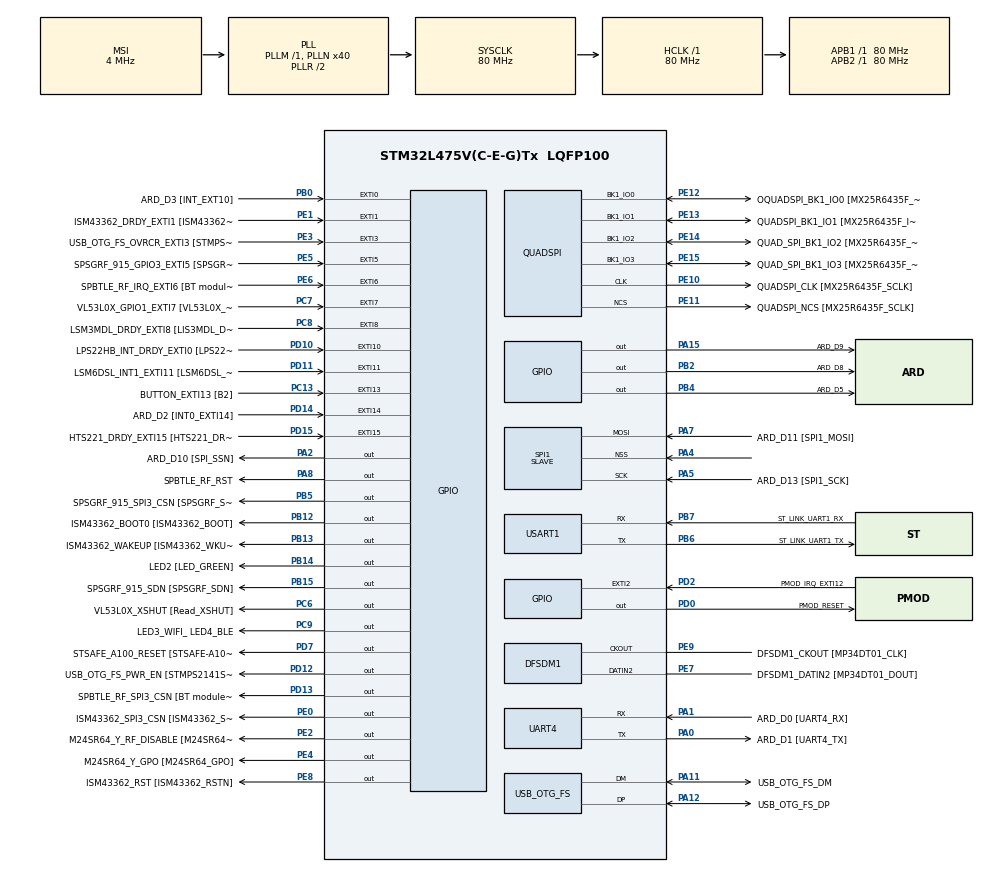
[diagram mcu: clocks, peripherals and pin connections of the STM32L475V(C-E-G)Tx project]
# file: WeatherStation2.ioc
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PD12.GPIO_Label=USB_OTG_FS_PWR_EN [STMPS2141STR_EN]
VP_SYS_VS_tim6.Mode=TIM6
QUADSPI.ClockPrescaler=2
SPI1.VirtualType=VM_SLAVE
NVIC.TIM6_DAC_IRQn=true\:0\:0\:false\:false\:true\:false\:false\:true
PC12.Signal=SPI3_MOSI
PB14.GPIO_Label=LED2 [LED_GREEN]
USART1.WordLength=WORDLENGTH_9B
PC6.GPIO_Label=VL53L0X_XSHUT [Read_XSHUT]
PA6.GPIO_Label=ARD_D12 [SPI1_MISO]
PB6.GPIO_Label=ST_LINK_UART1_TX
PA15\ (JTDI).Signal=GPIO_Output
PC15-OSC32_OUT\ (PC15).Mode=LSE-External-Oscillator
PB13.Signal=GPIO_Output
PD6.GPIO_Label=PMOD_UART2_RX
PE6.GPIO_Label=SPBTLE_RF_IRQ_EXTI6 [BT module_SPI_IRQ]
RCC.SYSCLKSource=RCC_SYSCLKSOURCE_PLLCLK
PC14-OSC32_IN\ (PC14).Mode=LSE-External-Oscillator
SH.ADCx_IN16.0=ADC1_IN16
PA14\ (JTCK-SWCLK).Signal=SYS_JTCK-SWCLK
FREERTOS.configENABLE_FPU=1
PA4.Mode=NSS_Signal_Hard_Input
SPI1.Direction=SPI_DIRECTION_2LINES_RXONLY
PD4.Signal=USART2_RTS
RCC.APB2TimFreq_Value=80000000
PB6.Signal=USART1_TX
PC7.Signal=GPXTI7
PB6.Mode=Asynchronous
UART4.Parity=PARITY_EVEN
PC3.Signal=ADCx_IN4
PD0.Signal=GPIO_Output
PD8.Signal=USART3_TX
PE5.Signal=GPXTI5
PE1.Signal=GPXTI1
QUADSPI.FlashSize=23
NVIC.EXTI15_10_IRQn=true\:5\:0\:false\:false\:true\:true\:true\:true
PB2.Signal=GPIO_Output
PD1.GPIO_Label=PMOD_SPI2_SCK
PB12.GPIO_Label=ISM43362_BOOT0 [ISM43362_BOOT]
PC4.GPIO_Label=ARD_A1 [ADC]
PE9.Signal=S_CKOUTDFSDM1
PB1.GPIO_Label=ARD_D6 [ADC1_IN6]
SPI1.DataSize=SPI_DATASIZE_8BIT
PE4.GPIO_Label=M24SR64_Y_GPO [M24SR64_GPO]
PA0.Mode=Asynchronous
PE2.Signal=GPIO_Output
PA8.Signal=GPIO_Output
SPI1.VirtualNSS=VM_NSSHARD
PE13.Mode=Single Bank
VP_FREERTOS_VS_CMSIS_V1.Mode=CMSIS_V1
PE10.Signal=QUADSPI_CLK
PA0.Signal=UART4_TX
Mcu.Package=LQFP100
PB9.Signal=I2C1_SDA
PB1.Signal=ADCx_IN16
NVIC.TimeBase=TIM6_DAC_IRQn
SH.ADCx_IN14.0=ADC1_IN14
PD12.Signal=GPIO_Output
NVIC.TimeBaseIP=TIM6
PA10.Signal=USB_OTG_FS_ID
PE12.GPIO_Label=OQUADSPI_BK1_IO0 [MX25R6435F_IO0]
UART4.WordLength=WORDLENGTH_9B
RCC.APB1TimFreq_Value=80000000
PA13\ (JTMS-SWDIO).Signal=SYS_JTMS-SWDIO
PE10.GPIO_Label=QUADSPI_CLK [MX25R6435F_SCLK]
PD15.Signal=GPXTI15
PA5.Mode=RX_Only_Simplex_Unidirect_Slave
PE12.Mode=Single Bank
FREERTOS.Tasks01=defaultTask,-3,128,StartDefaultTask,Default,NULL,Dynamic,NULL,NULL;readTemp,0,128,StartReadTemp,Default,NULL,Dynamic,NULL,NULL;readHum,0,128,StartReadHum,Default,NULL,Dynamic,NULL,NULL;readPress,0,128,StartReadPressure,Default,NULL,Dynamic,NULL,NULL;readMagneto,0,128,StartReadMagnetometer,Default,NULL,Dynamic,NULL,NULL;sendData,0,128,StartSendData,Default,NULL,Dynamic,NULL,NULL;receiveDelay,0,128,StartReceiveDelay,Default,NULL,Dynamic,NULL,NULL
PD9.GPIO_Label=INTERNAL_UART3_RX [ISM43362_TX]
PA9.GPIO_Label=USB_OTG_FS_VBUS [STMPS2141STR_OUT]
PC13.Signal=GPXTI13
PD3.Signal=USART2_CTS
PC2.Signal=ADCx_IN3
PE10.Mode=Single Bank
PC6.Signal=GPIO_Output
PB11.GPIO_Label=INTERNAL_I2C2_SDA [VL53L0X_SDA]
PD7.Signal=GPIO_Output
PD1.Signal=SPI2_SCK
PA11.GPIO_Label=USB_OTG_FS_DM
PC0.Signal=ADCx_IN1
PD10.Signal=GPXTI10
PB8.GPIO_Label=ARD_D15 [I2C1_SCL]
PA8.GPIO_Label=SPBTLE_RF_RST
PE8.GPIO_Label=ISM43362_RST [ISM43362_RSTN]
PA9.Signal=USB_OTG_FS_VBUS
PE9.GPIO_Label=DFSDM1_CKOUT [MP34DT01_CLK]
PB10.Signal=I2C2_SCL
PB14.Signal=GPIO_Output
PA5.Signal=SPI1_SCK
PE1.GPIO_Label=ISM43362_DRDY_EXTI1 [ISM43362_DATARDY]
PA1.Mode=Asynchronous
PE14.Signal=QUADSPI_BK1_IO2
PE15.Signal=QUADSPI_BK1_IO3
PB15.GPIO_Label=SPSGRF_915_SDN [SPSGRF_SDN]
PE8.Signal=GPIO_Output
SPI1.Mode=SPI_MODE_SLAVE
PA1.GPIO_Label=ARD_D0 [UART4_RX]
SH.ADCx_IN4.0=ADC1_IN4
QUADSPI.FifoThreshold=4
PC7.GPIO_Label=VL53L0X_GPIO1_EXTI7 [VL53L0X_GPIO1]
PA13\ (JTMS-SWDIO).Mode=Serial_Wire
PA4.Signal=SPI1_NSS
PB5.Signal=GPIO_Output
PE13.GPIO_Label=QUADSPI_BK1_IO1 [MX25R6435F_IO1]
PA5.GPIO_Label=ARD_D13 [SPI1_SCK]
PD11.Signal=GPXTI11
PE5.GPIO_Label=SPSGRF_915_GPIO3_EXTI5 [SPSGRF_GPIO_3]
PC12.GPIO_Label=INTERNAL_SPI3_MOSI [BT module_SPI_MOSI] [ISM43362_MOSI]
PA11.Signal=USB_OTG_FS_DM
ProjectManager.HeapSize=0x200
NVIC.PriorityGroup=NVIC_PRIORITYGROUP_4
PE3.Signal=GPXTI3
PC3.GPIO_Label=ARD_A2 [ADC]
PB4\ (NJTRST).GPIO_Label=ARD_D5
PD2.Signal=GPXTI2
PB0.Signal=GPXTI0
PC1.Signal=ADCx_IN2
PD2.GPIO_Label=PMOD_IRQ_EXTI12
PE15.Mode=Single Bank
Mcu.Family=STM32L4
RCC.CortexFreq_Value=80000000
PE11.GPIO_Label=QUADSPI_NCS [MX25R6435F_SCLK]
SH.ADCx_IN2.0=ADC1_IN2
PC10.Signal=SPI3_SCK
PA0.GPIO_Label=ARD_D1 [UART4_TX]
PC0.GPIO_Label=ARD_A5 [ADC]
PD0.GPIO_Label=PMOD_RESET
PA11.Mode=Device_Only
PB0.GPIO_Label=ARD_D3 [INT_EXT10]
PC13.GPIO_Label=BUTTON_EXTI13 [B2]
PB13.GPIO_Label=ISM43362_WAKEUP [ISM43362_WKUP]
PB11.Signal=I2C2_SDA
PB15.Signal=GPIO_Output
ProjectManager.StackSize=0x400
PB3\ (JTDO-TRACESWO).Signal=SYS_JTDO-SWO
PD13.Signal=GPIO_Output
PA12.Signal=USB_OTG_FS_DP
PE11.Mode=Single Bank
PD11.GPIO_Label=LSM6DSL_INT1_EXTI11 [LSM6DSL_INT1]
RCC.HCLKFreq_Value=80000000
SH.ADCx_IN3.0=ADC1_IN3
PB5.PinState=GPIO_PIN_SET
RCC.AHBFreq_Value=80000000
RCC.HSE_VALUE=8000000
PE13.Signal=QUADSPI_BK1_IO1
PC11.GPIO_Label=INTERNAL_SPI3_MISO [BT module_SPI_MISO] [ISM43362_MISO]
PA10.GPIO_Label=USB_OTG_FS_ID
PB7.Signal=USART1_RX
PE4.Signal=GPIO_Output
QUADSPI.SampleShifting=QSPI_SAMPLE_SHIFTING_HALFCYCLE
FREERTOS.configTOTAL_HEAP_SIZE=5000
PD7.GPIO_Label=STSAFE_A100_RESET [STSAFE-A100_RESET]
PB7.GPIO_Label=ST_LINK_UART1_RX
PD13.GPIO_Label=SPBTLE_RF_SPI3_CSN [BT module_SPI_CS]
PA6.Signal=SPI1_MISO
PD5.GPIO_Label=PMOD_UART2_TX
PA2.GPIO_Label=ARD_D10 [SPI_SSN]
USB_OTG_FS.VirtualMode=Device_Only
PE0.GPIO_Label=ISM43362_SPI3_CSN [ISM43362_SSN]
SH.ADCx_IN1.0=ADC1_IN1
PB5.GPIO_Label=SPSGRF_915_SPI3_CSN [SPSGRF_SPI_CS]
PC5.Signal=ADCx_IN14
PD3.GPIO_Label=PMOD_UART2_CTS
PE7.Signal=S_DATAIN2DFSDM1
PD6.Signal=USART2_RX
PE2.GPIO_Label=M24SR64_Y_RF_DISABLE [M24SR64_RFDIS]
PC2.GPIO_Label=ARD_A3 [ADC]
RCC.PLLSAI1N=24
PA3.Signal=S_TIM2_CH4
RCC.MSI_VALUE=4000000
PA14\ (JTCK-SWCLK).Mode=Serial_Wire
SH.ADCx_IN13.0=ADC1_IN13
PD15.GPIO_Label=HTS221_DRDY_EXTI15 [HTS221_DRDY]
PA7.Mode=RX_Only_Simplex_Unidirect_Slave
PB9.GPIO_Label=ARD_D14 [I2C1_SDA]
PC10.GPIO_Label=INTERNAL_SPI3_SCK [BT module_SPI_SCLK] [ISM43362_SCK]
PC9.GPIO_Label=LED3_WIFI_ LED4_BLE
PC11.Signal=SPI3_MISO
PC8.Signal=GPXTI8
PC4.Signal=ADCx_IN13
SH.S_DATAIN2DFSDM1.0=DFSDM1_DATIN2,PDM_SPI_Input_from_ch12_and_Internal_Clock
PE14.GPIO_Label=QUAD_SPI_BK1_IO2 [MX25R6435F_IO2]
PC15-OSC32_OUT\ (PC15).Signal=RCC_OSC32_OUT
PD9.Signal=USART3_RX
PD5.Signal=USART2_TX
PA14\ (JTCK-SWCLK).GPIO_Label=SYS_JTCK_SWCLK
PB3\ (JTDO-TRACESWO).GPIO_Label=SYS_JTD0_SWO
PA12.GPIO_Label=USB_OTG_FS_DP
PD8.GPIO_Label=INTERNAL_UART3_TX [ISM43362_RX]
PC8.GPIO_Label=LSM3MDL_DRDY_EXTI8 [LIS3MDL_DRDY]
USART1.VirtualMode-Asynchronous=VM_ASYNC
PE0.PinState=GPIO_PIN_SET
PE15.GPIO_Label=QUAD_SPI_BK1_IO3 [MX25R6435F_IO3]
ProjectManager.TargetToolchain=STM32CubeIDE
PB10.GPIO_Label=INTERNAL_I2C2_SCL [VL53L0X_SCL]
USART1.Parity=PARITY_EVEN
RCC.USBFreq_Value=48000000
PD10.GPIO_Label=LPS22HB_INT_DRDY_EXTI0 [LPS22HB_INT_DRDY] 
PE11.Signal=QUADSPI_NCS
PA1.Signal=UART4_RX
board=B-L475E-IOT01A2
RCC.VCOOutputFreq_Value=160000000
RCC.APB2Freq_Value=80000000
PA13\ (JTMS-SWDIO).GPIO_Label=SYS_JTMS_SWDIO
PD4.GPIO_Label=PMOD_UART2_RTS
PE14.Mode=Single Bank
SH.S_CKOUTDFSDM1.0=DFSDM1_CKOUT,CKOUT
SH.S_CKOUTDFSDM1.1=DFSDM1_CKOUT,PDM_SPI_Input_from_ch12_and_Internal_Clock
RCC.ADCFreq_Value=48000000
PC1.GPIO_Label=ARD_A4 [ADC]
PD14.GPIO_Label=ARD_D2 [INT0_EXTI14]
PE6.Signal=GPXTI6
PA15\ (JTDI).GPIO_Label=ARD_D9
Mcu.Name=STM32L475V(C-E-G)Tx
PE0.Signal=GPIO_Output
PE7.GPIO_Label=DFSDM1_DATIN2 [MP34DT01_DOUT]
PE12.Signal=QUADSPI_BK1_IO0
PA2.Signal=GPIO_Output
PD14.Signal=GPXTI14
RCC.SYSCLKFreq_VALUE=80000000
PA7.GPIO_Label=ARD_D11 [SPI1_MOSI]
PA12.Mode=Device_Only
PC13.GPIO_ModeDefaultEXTI=GPIO_MODE_IT_FALLING
PC5.GPIO_Label=ARD_A0 [ADC]
PC14-OSC32_IN\ (PC14).Signal=RCC_OSC32_IN
PB7.Mode=Asynchronous
NVIC.EXTI9_5_IRQn=true\:5\:0\:false\:false\:true\:true\:true\:true
PB2.GPIO_Label=ARD_D8
SH.S_TIM2_CH4.0=TIM2_CH4
RCC.HSI_VALUE=16000000
RCC.PLLN=40
PB8.Signal=I2C1_SCL
PE3.GPIO_Label=USB_OTG_FS_OVRCR_EXTI3 [STMPS2141STR_FAULT]
PC9.Signal=GPIO_Output
PD13.PinState=GPIO_PIN_SET
RCC.APB1Freq_Value=80000000
PB12.Signal=GPIO_Output
PA3.GPIO_Label=ARD_D4
PA7.Signal=SPI1_MOSI
PB4\ (NJTRST).Signal=GPIO_Output

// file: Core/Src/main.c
/* USER CODE BEGIN Header */
/**
  ******************************************************************************
  * @file           : main.c
  * @brief          : Main program body
  ******************************************************************************
  * @attention
  *
  * <h2><center>&copy; Copyright (c) 2021 STMicroelectronics.
  * All rights reserved.</center></h2>
  *
  * This software component is licensed by ST under BSD 3-Clause license,
  * the "License"; You may not use this file except in compliance with the
  * License. You may obtain a copy of the License at:
  *                        opensource.org/licenses/BSD-3-Clause
  *
  ******************************************************************************
  */
/* USER CODE END Header */
#include "main.h"
#include "cmsis_os.h"

/* USER CODE BEGIN Includes */
#include "stm32l475e_iot01.h"
#include "stm32l475e_iot01_tsensor.h"
#include "stm32l475e_iot01_hsensor.h"
#include "stm32l475e_iot01_magneto.h"
#include "stm32l475e_iot01_psensor.h"
#include <math.h>
#include <stdio.h>
#include <stdlib.h>
#include <inttypes.h>
#include "sensors.h"

/* USER CODE END Includes */

DFSDM_Channel_HandleTypeDef hdfsdm1_channel1;

QSPI_HandleTypeDef hqspi;

SPI_HandleTypeDef hspi1;

UART_HandleTypeDef huart4;
UART_HandleTypeDef huart1;

PCD_HandleTypeDef hpcd_USB_OTG_FS;

osThreadId defaultTaskHandle;
osThreadId readTempHandle;
osThreadId readHumHandle;
osThreadId readPressHandle;
osThreadId readMagnetoHandle;
osThreadId sendDataHandle;
osThreadId receiveDelayHandle;
/* USER CODE BEGIN PV */

sensors_delay_t delay;
sensor_data_t sensor_data;
uint8_t *written_data;

/* USER CODE END PV */

void SystemClock_Config(void);
static void MX_GPIO_Init(void);
static void MX_DFSDM1_Init(void);
static void MX_QUADSPI_Init(void);
static void MX_USART1_UART_Init(void);
static void MX_USB_OTG_FS_PCD_Init(void);
static void MX_SPI1_Init(void);
static void MX_UART4_Init(void);
void StartDefaultTask(void const * argument);
void StartReadTemp(void const * argument);
void StartReadHum(void const * argument);
void StartReadPressure(void const * argument);
void StartReadMagnetometer(void const * argument);
void StartSendData(void const * argument);
void StartReceiveDelay(void const * argument);

/* USER CODE BEGIN PFP */
int _write(int file, char *ptr, int len);
void _SPI_receive_delay();
void _UART_send_sensor_data();
void _set_delay(const uint16_t new_delay);
uint8_t _sum(uint8_t *written_data);
/* USER CODE END PFP */

/* USER CODE BEGIN 0 */
int _write(int file, char *ptr, int len){
	HAL_UART_Transmit(&huart1, (uint8_t *)ptr, len, 10);
	return len;
}

void _SPI_receive_delay(){
	// TODO: find a way to set this up with an interrupt
	HAL_StatusTypeDef status = HAL_TIMEOUT;
	union{
		uint8_t uint8_delay[2];
		uint16_t uint16_delay;
	} new_delay;
	uint8_t read_counter = 0;

	printf("ReceiveDelay: Waiting for a new delay...\r");

	while(status != HAL_OK && read_counter < 2){

		status = HAL_SPI_Receive(&hspi1, &new_delay.uint8_delay[read_counter], sizeof(uint8_t), delay*2);

		if(status == HAL_OK)
			read_counter ++;
		else
			// Allow preemption
			osDelay(500);
	}

	printf("ReceiveDelay: Received new delay: %d\r", new_delay.uint16_delay);
	_set_delay(new_delay.uint16_delay);

}

uint8_t _sum(uint8_t *written_data){
	uint8_t sum = 0;

	for(uint8_t i=0; i<sizeof(written_data); i++)
		sum += written_data[i];

	return sum;
}

void _UART_send_sensor_data(){
	HAL_StatusTypeDef status;
	uint8_t *sensor_data_bytes = (uint8_t *)&sensor_data;

	printf("SendData: Sending data: \r");
	printf("SendData: Temperature = %.02f°C\r", sensor_data.temperature);
	printf("SendData: Humidity = %.02f%% \r", sensor_data.humidity);
	printf("SendData: Pressure = %.02f hPa\r", sensor_data.pressure);
	printf("SendData: North direction = %.02f°\r\r", sensor_data.north_direction);

	/* for(uint8_t i=0; i<sizeof(sensor_data_t); i++){
		status = HAL_TIMEOUT;
		while(status != HAL_OK){
			status = HAL_UART_Transmit(&huart4, sensor_data_bytes + i, sizeof(uint8_t), delay*2);
			printf(".");
		}
	}*/

	printf("\rSendData: Sensor data sent.\r");

	// reset of written_data
	for(uint8_t i=0; i<sizeof(written_data); i++)
		written_data[i] = 0;

	printf("SendData: Reset written_data counters.\r");

}

void _set_delay(const uint16_t new_delay){
	switch(new_delay){
		case 500:
			delay = FAST;
			break;
		case 1000:
			delay = MEDIUM;
			break;
		case 2500:
			delay = SLOW;
			break;
		case 5000:
			delay = VERY_SLOW;
			break;
		case 10000:
			delay = TAKE_A_BREAK;
			break;
		default:
			// Blink LED to say there was a problem, maybe transmission?
			HAL_GPIO_WritePin(GPIOB, LED2_Pin, GPIO_PIN_SET);
			HAL_Delay(500);
			HAL_GPIO_WritePin(GPIOB, LED2_Pin, GPIO_PIN_RESET);
			break;
	}
}

/* USER CODE END 0 */

int main(void)
{
  /* USER CODE BEGIN 1 */
	written_data = malloc(sizeof(uint8_t) * 4);

	for(uint8_t i=0; i<sizeof(written_data); i++)
		written_data[i] = 0;

	delay = FAST;

  /* USER CODE END 1 */

  /* MCU Configuration--------------------------------------------------------*/

  /* Reset of all peripherals, Initializes the Flash interface and the Systick. */
  HAL_Init();

  /* Configure the system clock */
  SystemClock_Config();

  /* Initialize all configured peripherals */
  MX_GPIO_Init();
  MX_DFSDM1_Init();
  MX_QUADSPI_Init();
  MX_USART1_UART_Init();
  MX_USB_OTG_FS_PCD_Init();
  MX_SPI1_Init();
  MX_UART4_Init();

  /* Create the thread(s) */
  /* definition and creation of defaultTask */
  osThreadDef(defaultTask, StartDefaultTask, osPriorityIdle, 0, 128);
  defaultTaskHandle = osThreadCreate(osThread(defaultTask), NULL);

  /* definition and creation of readTemp */
  osThreadDef(readTemp, StartReadTemp, osPriorityNormal, 0, 128);
  readTempHandle = osThreadCreate(osThread(readTemp), NULL);

  /* definition and creation of readHum */
  osThreadDef(readHum, StartReadHum, osPriorityNormal, 0, 128);
  readHumHandle = osThreadCreate(osThread(readHum), NULL);

  /* definition and creation of readPress */
  osThreadDef(readPress, StartReadPressure, osPriorityNormal, 0, 128);
  readPressHandle = osThreadCreate(osThread(readPress), NULL);

  /* definition and creation of readMagneto */
  osThreadDef(readMagneto, StartReadMagnetometer, osPriorityNormal, 0, 128);
  readMagnetoHandle = osThreadCreate(osThread(readMagneto), NULL);

  /* definition and creation of sendData */
  osThreadDef(sendData, StartSendData, osPriorityNormal, 0, 128);
  sendDataHandle = osThreadCreate(osThread(sendData), NULL);

  /* definition and creation of receiveDelay */
  osThreadDef(receiveDelay, StartReceiveDelay, osPriorityNormal, 0, 128);
  receiveDelayHandle = osThreadCreate(osThread(receiveDelay), NULL);

  /* Start scheduler */
  osKernelStart();

  /* We should never get here as control is now taken by the scheduler */
  /* Infinite loop */
  while (1)
  {

  }
}

void SystemClock_Config(void)
{
  RCC_OscInitTypeDef RCC_OscInitStruct = {0};
  RCC_ClkInitTypeDef RCC_ClkInitStruct = {0};
  RCC_PeriphCLKInitTypeDef PeriphClkInit = {0};

  /** Configure LSE Drive Capability
  */
  HAL_PWR_EnableBkUpAccess();
  __HAL_RCC_LSEDRIVE_CONFIG(RCC_LSEDRIVE_LOW);
  /** Initializes the RCC Oscillators according to the specified parameters
  * in the RCC_OscInitTypeDef structure.
  */
  RCC_OscInitStruct.OscillatorType = RCC_OSCILLATORTYPE_LSE|RCC_OSCILLATORTYPE_MSI;
  RCC_OscInitStruct.LSEState = RCC_LSE_ON;
  RCC_OscInitStruct.MSIState = RCC_MSI_ON;
  RCC_OscInitStruct.MSICalibrationValue = 0;
  RCC_OscInitStruct.MSIClockRange = RCC_MSIRANGE_6;
  RCC_OscInitStruct.PLL.PLLState = RCC_PLL_ON;
  RCC_OscInitStruct.PLL.PLLSource = RCC_PLLSOURCE_MSI;
  RCC_OscInitStruct.PLL.PLLM = 1;
  RCC_OscInitStruct.PLL.PLLN = 40;
  RCC_OscInitStruct.PLL.PLLP = RCC_PLLP_DIV7;
  RCC_OscInitStruct.PLL.PLLQ = RCC_PLLQ_DIV2;
  RCC_OscInitStruct.PLL.PLLR = RCC_PLLR_DIV2;
  if (HAL_RCC_OscConfig(&RCC_OscInitStruct) != HAL_OK)
  {
    Error_Handler();
  }
  /** Initializes the CPU, AHB and APB buses clocks
  */
  RCC_ClkInitStruct.ClockType = RCC_CLOCKTYPE_HCLK|RCC_CLOCKTYPE_SYSCLK
                              |RCC_CLOCKTYPE_PCLK1|RCC_CLOCKTYPE_PCLK2;
  RCC_ClkInitStruct.SYSCLKSource = RCC_SYSCLKSOURCE_PLLCLK;
  RCC_ClkInitStruct.AHBCLKDivider = RCC_SYSCLK_DIV1;
  RCC_ClkInitStruct.APB1CLKDivider = RCC_HCLK_DIV1;
  RCC_ClkInitStruct.APB2CLKDivider = RCC_HCLK_DIV1;

  if (HAL_RCC_ClockConfig(&RCC_ClkInitStruct, FLASH_LATENCY_4) != HAL_OK)
  {
    Error_Handler();
  }
  PeriphClkInit.PeriphClockSelection = RCC_PERIPHCLK_USART1|RCC_PERIPHCLK_UART4
                              |RCC_PERIPHCLK_DFSDM1|RCC_PERIPHCLK_USB;
  PeriphClkInit.Usart1ClockSelection = RCC_USART1CLKSOURCE_PCLK2;
  PeriphClkInit.Uart4ClockSelection = RCC_UART4CLKSOURCE_PCLK1;
  PeriphClkInit.Dfsdm1ClockSelection = RCC_DFSDM1CLKSOURCE_PCLK;
  PeriphClkInit.UsbClockSelection = RCC_USBCLKSOURCE_PLLSAI1;
  PeriphClkInit.PLLSAI1.PLLSAI1Source = RCC_PLLSOURCE_MSI;
  PeriphClkInit.PLLSAI1.PLLSAI1M = 1;
  PeriphClkInit.PLLSAI1.PLLSAI1N = 24;
  PeriphClkInit.PLLSAI1.PLLSAI1P = RCC_PLLP_DIV7;
  PeriphClkInit.PLLSAI1.PLLSAI1Q = RCC_PLLQ_DIV2;
  PeriphClkInit.PLLSAI1.PLLSAI1R = RCC_PLLR_DIV2;
  PeriphClkInit.PLLSAI1.PLLSAI1ClockOut = RCC_PLLSAI1_48M2CLK;
  if (HAL_RCCEx_PeriphCLKConfig(&PeriphClkInit) != HAL_OK)
  {
    Error_Handler();
  }
  /** Configure the main internal regulator output voltage
  */
  if (HAL_PWREx_ControlVoltageScaling(PWR_REGULATOR_VOLTAGE_SCALE1) != HAL_OK)
  {
    Error_Handler();
  }
  /** Enable MSI Auto calibration
  */
  HAL_RCCEx_EnableMSIPLLMode();
}

static void MX_DFSDM1_Init(void)
{

  hdfsdm1_channel1.Instance = DFSDM1_Channel1;
  hdfsdm1_channel1.Init.OutputClock.Activation = ENABLE;
  hdfsdm1_channel1.Init.OutputClock.Selection = DFSDM_CHANNEL_OUTPUT_CLOCK_SYSTEM;
  hdfsdm1_channel1.Init.OutputClock.Divider = 2;
  hdfsdm1_channel1.Init.Input.Multiplexer = DFSDM_CHANNEL_EXTERNAL_INPUTS;
  hdfsdm1_channel1.Init.Input.DataPacking = DFSDM_CHANNEL_STANDARD_MODE;
  hdfsdm1_channel1.Init.Input.Pins = DFSDM_CHANNEL_FOLLOWING_CHANNEL_PINS;
  hdfsdm1_channel1.Init.SerialInterface.Type = DFSDM_CHANNEL_SPI_RISING;
  hdfsdm1_channel1.Init.SerialInterface.SpiClock = DFSDM_CHANNEL_SPI_CLOCK_INTERNAL;
  hdfsdm1_channel1.Init.Awd.FilterOrder = DFSDM_CHANNEL_FASTSINC_ORDER;
  hdfsdm1_channel1.Init.Awd.Oversampling = 1;
  hdfsdm1_channel1.Init.Offset = 0;
  hdfsdm1_channel1.Init.RightBitShift = 0x00;
  if (HAL_DFSDM_ChannelInit(&hdfsdm1_channel1) != HAL_OK)
  {
    Error_Handler();
  }

}

static void MX_QUADSPI_Init(void)
{

  /* QUADSPI parameter configuration*/
  hqspi.Instance = QUADSPI;
  hqspi.Init.ClockPrescaler = 2;
  hqspi.Init.FifoThreshold = 4;
  hqspi.Init.SampleShifting = QSPI_SAMPLE_SHIFTING_HALFCYCLE;
  hqspi.Init.FlashSize = 23;
  hqspi.Init.ChipSelectHighTime = QSPI_CS_HIGH_TIME_1_CYCLE;
  hqspi.Init.ClockMode = QSPI_CLOCK_MODE_0;
  if (HAL_QSPI_Init(&hqspi) != HAL_OK)
  {
    Error_Handler();
  }

}

static void MX_SPI1_Init(void)
{

  /* SPI1 parameter configuration*/
  hspi1.Instance = SPI1;
  hspi1.Init.Mode = SPI_MODE_SLAVE;
  hspi1.Init.Direction = SPI_DIRECTION_2LINES_RXONLY;
  hspi1.Init.DataSize = SPI_DATASIZE_8BIT;
  hspi1.Init.CLKPolarity = SPI_POLARITY_LOW;
  hspi1.Init.CLKPhase = SPI_PHASE_1EDGE;
  hspi1.Init.NSS = SPI_NSS_HARD_INPUT;
  hspi1.Init.FirstBit = SPI_FIRSTBIT_MSB;
  hspi1.Init.TIMode = SPI_TIMODE_DISABLE;
  hspi1.Init.CRCCalculation = SPI_CRCCALCULATION_DISABLE;
  hspi1.Init.CRCPolynomial = 7;
  hspi1.Init.CRCLength = SPI_CRC_LENGTH_DATASIZE;
  hspi1.Init.NSSPMode = SPI_NSS_PULSE_DISABLE;
  if (HAL_SPI_Init(&hspi1) != HAL_OK)
  {
    Error_Handler();
  }

}

static void MX_UART4_Init(void)
{

  huart4.Instance = UART4;
  huart4.Init.BaudRate = 115200;
  huart4.Init.WordLength = UART_WORDLENGTH_9B;
  huart4.Init.StopBits = UART_STOPBITS_1;
  huart4.Init.Parity = UART_PARITY_EVEN;
  huart4.Init.Mode = UART_MODE_TX_RX;
  huart4.Init.HwFlowCtl = UART_HWCONTROL_NONE;
  huart4.Init.OverSampling = UART_OVERSAMPLING_16;
  huart4.Init.OneBitSampling = UART_ONE_BIT_SAMPLE_DISABLE;
  huart4.AdvancedInit.AdvFeatureInit = UART_ADVFEATURE_NO_INIT;
  if (HAL_UART_Init(&huart4) != HAL_OK)
  {
    Error_Handler();
  }

}

static void MX_USART1_UART_Init(void)
{

  huart1.Instance = USART1;
  huart1.Init.BaudRate = 115200;
  huart1.Init.WordLength = UART_WORDLENGTH_9B;
  huart1.Init.StopBits = UART_STOPBITS_1;
  huart1.Init.Parity = UART_PARITY_EVEN;
  huart1.Init.Mode = UART_MODE_TX_RX;
  huart1.Init.HwFlowCtl = UART_HWCONTROL_NONE;
  huart1.Init.OverSampling = UART_OVERSAMPLING_16;
  huart1.Init.OneBitSampling = UART_ONE_BIT_SAMPLE_DISABLE;
  huart1.AdvancedInit.AdvFeatureInit = UART_ADVFEATURE_NO_INIT;
  if (HAL_UART_Init(&huart1) != HAL_OK)
  {
    Error_Handler();
  }

}

static void MX_USB_OTG_FS_PCD_Init(void)
{

  hpcd_USB_OTG_FS.Instance = USB_OTG_FS;
  hpcd_USB_OTG_FS.Init.dev_endpoints = 6;
  hpcd_USB_OTG_FS.Init.speed = PCD_SPEED_FULL;
  hpcd_USB_OTG_FS.Init.phy_itface = PCD_PHY_EMBEDDED;
  hpcd_USB_OTG_FS.Init.Sof_enable = DISABLE;
  hpcd_USB_OTG_FS.Init.low_power_enable = DISABLE;
  hpcd_USB_OTG_FS.Init.lpm_enable = DISABLE;
  hpcd_USB_OTG_FS.Init.battery_charging_enable = DISABLE;
  hpcd_USB_OTG_FS.Init.use_dedicated_ep1 = DISABLE;
  hpcd_USB_OTG_FS.Init.vbus_sensing_enable = DISABLE;
  if (HAL_PCD_Init(&hpcd_USB_OTG_FS) != HAL_OK)
  {
    Error_Handler();
  }

}

static void MX_GPIO_Init(void)
{
  GPIO_InitTypeDef GPIO_InitStruct = {0};

  /* GPIO Ports Clock Enable */
  __HAL_RCC_GPIOE_CLK_ENABLE();
  __HAL_RCC_GPIOC_CLK_ENABLE();
  __HAL_RCC_GPIOA_CLK_ENABLE();
  __HAL_RCC_GPIOB_CLK_ENABLE();
  __HAL_RCC_GPIOD_CLK_ENABLE();

  /*Configure GPIO pin Output Level */
  HAL_GPIO_WritePin(GPIOE, M24SR64_Y_RF_DISABLE_Pin|M24SR64_Y_GPO_Pin|ISM43362_RST_Pin, GPIO_PIN_RESET);

  /*Configure GPIO pin Output Level */
  HAL_GPIO_WritePin(GPIOA, ARD_D10_Pin|SPBTLE_RF_RST_Pin|ARD_D9_Pin, GPIO_PIN_RESET);

  /*Configure GPIO pin Output Level */
  HAL_GPIO_WritePin(GPIOB, ARD_D8_Pin|ISM43362_BOOT0_Pin|ISM43362_WAKEUP_Pin|LED2_Pin
                          |SPSGRF_915_SDN_Pin|ARD_D5_Pin, GPIO_PIN_RESET);

  /*Configure GPIO pin Output Level */
  HAL_GPIO_WritePin(GPIOD, USB_OTG_FS_PWR_EN_Pin|PMOD_RESET_Pin|STSAFE_A100_RESET_Pin, GPIO_PIN_RESET);

  /*Configure GPIO pin Output Level */
  HAL_GPIO_WritePin(SPBTLE_RF_SPI3_CSN_GPIO_Port, SPBTLE_RF_SPI3_CSN_Pin, GPIO_PIN_SET);

  /*Configure GPIO pin Output Level */
  HAL_GPIO_WritePin(GPIOC, VL53L0X_XSHUT_Pin|LED3_WIFI__LED4_BLE_Pin, GPIO_PIN_RESET);

  /*Configure GPIO pin Output Level */
  HAL_GPIO_WritePin(SPSGRF_915_SPI3_CSN_GPIO_Port, SPSGRF_915_SPI3_CSN_Pin, GPIO_PIN_SET);

  /*Configure GPIO pin Output Level */
  HAL_GPIO_WritePin(ISM43362_SPI3_CSN_GPIO_Port, ISM43362_SPI3_CSN_Pin, GPIO_PIN_SET);

  /*Configure GPIO pins : M24SR64_Y_RF_DISABLE_Pin M24SR64_Y_GPO_Pin ISM43362_RST_Pin ISM43362_SPI3_CSN_Pin */
  GPIO_InitStruct.Pin = M24SR64_Y_RF_DISABLE_Pin|M24SR64_Y_GPO_Pin|ISM43362_RST_Pin|ISM43362_SPI3_CSN_Pin;
  GPIO_InitStruct.Mode = GPIO_MODE_OUTPUT_PP;
  GPIO_InitStruct.Pull = GPIO_NOPULL;
  GPIO_InitStruct.Speed = GPIO_SPEED_FREQ_LOW;
  HAL_GPIO_Init(GPIOE, &GPIO_InitStruct);

  /*Configure GPIO pins : USB_OTG_FS_OVRCR_EXTI3_Pin SPSGRF_915_GPIO3_EXTI5_Pin SPBTLE_RF_IRQ_EXTI6_Pin ISM43362_DRDY_EXTI1_Pin */
  GPIO_InitStruct.Pin = USB_OTG_FS_OVRCR_EXTI3_Pin|SPSGRF_915_GPIO3_EXTI5_Pin|SPBTLE_RF_IRQ_EXTI6_Pin|ISM43362_DRDY_EXTI1_Pin;
  GPIO_InitStruct.Mode = GPIO_MODE_IT_RISING;
  GPIO_InitStruct.Pull = GPIO_NOPULL;
  HAL_GPIO_Init(GPIOE, &GPIO_InitStruct);

  /*Configure GPIO pin : BUTTON_EXTI13_Pin */
  GPIO_InitStruct.Pin = BUTTON_EXTI13_Pin;
  GPIO_InitStruct.Mode = GPIO_MODE_IT_FALLING;
  GPIO_InitStruct.Pull = GPIO_NOPULL;
  HAL_GPIO_Init(BUTTON_EXTI13_GPIO_Port, &GPIO_InitStruct);

  /*Configure GPIO pins : ARD_A5_Pin ARD_A4_Pin ARD_A3_Pin ARD_A2_Pin
                           ARD_A1_Pin ARD_A0_Pin */
  GPIO_InitStruct.Pin = ARD_A5_Pin|ARD_A4_Pin|ARD_A3_Pin|ARD_A2_Pin
                          |ARD_A1_Pin|ARD_A0_Pin;
  GPIO_InitStruct.Mode = GPIO_MODE_ANALOG_ADC_CONTROL;
  GPIO_InitStruct.Pull = GPIO_NOPULL;
  HAL_GPIO_Init(GPIOC, &GPIO_InitStruct);

  /*Configure GPIO pins : ARD_D10_Pin SPBTLE_RF_RST_Pin ARD_D9_Pin */
  GPIO_InitStruct.Pin = ARD_D10_Pin|SPBTLE_RF_RST_Pin|ARD_D9_Pin;
  GPIO_InitStruct.Mode = GPIO_MODE_OUTPUT_PP;
  GPIO_InitStruct.Pull = GPIO_NOPULL;
  GPIO_InitStruct.Speed = GPIO_SPEED_FREQ_LOW;
  HAL_GPIO_Init(GPIOA, &GPIO_InitStruct);

  /*Configure GPIO pin : ARD_D4_Pin */
  GPIO_InitStruct.Pin = ARD_D4_Pin;
  GPIO_InitStruct.Mode = GPIO_MODE_AF_PP;
  GPIO_InitStruct.Pull = GPIO_NOPULL;
  GPIO_InitStruct.Speed = GPIO_SPEED_FREQ_LOW;
  GPIO_InitStruct.Alternate = GPIO_AF1_TIM2;
  HAL_GPIO_Init(ARD_D4_GPIO_Port, &GPIO_InitStruct);

  /*Configure GPIO pin : ARD_D3_Pin */
  GPIO_InitStruct.Pin = ARD_D3_Pin;
  GPIO_InitStruct.Mode = GPIO_MODE_IT_RISING;
  GPIO_InitStruct.Pull = GPIO_NOPULL;
  HAL_GPIO_Init(ARD_D3_GPIO_Port, &GPIO_InitStruct);

  /*Configure GPIO pin : ARD_D6_Pin */
  GPIO_InitStruct.Pin = ARD_D6_Pin;
  GPIO_InitStruct.Mode = GPIO_MODE_ANALOG_ADC_CONTROL;
  GPIO_InitStruct.Pull = GPIO_NOPULL;
  HAL_GPIO_Init(ARD_D6_GPIO_Port, &GPIO_InitStruct);

  /*Configure GPIO pins : ARD_D8_Pin ISM43362_BOOT0_Pin ISM43362_WAKEUP_Pin LED2_Pin
                           SPSGRF_915_SDN_Pin ARD_D5_Pin SPSGRF_915_SPI3_CSN_Pin */
  GPIO_InitStruct.Pin = ARD_D8_Pin|ISM43362_BOOT0_Pin|ISM43362_WAKEUP_Pin|LED2_Pin
                          |SPSGRF_915_SDN_Pin|ARD_D5_Pin|SPSGRF_915_SPI3_CSN_Pin;
  GPIO_InitStruct.Mode = GPIO_MODE_OUTPUT_PP;
  GPIO_InitStruct.Pull = GPIO_NOPULL;
  GPIO_InitStruct.Speed = GPIO_SPEED_FREQ_LOW;
  HAL_GPIO_Init(GPIOB, &GPIO_InitStruct);

  /*Configure GPIO pins : INTERNAL_I2C2_SCL_Pin INTERNAL_I2C2_SDA_Pin */
  GPIO_InitStruct.Pin = INTERNAL_I2C2_SCL_Pin|INTERNAL_I2C2_SDA_Pin;
  GPIO_InitStruct.Mode = GPIO_MODE_AF_OD;
  GPIO_InitStruct.Pull = GPIO_PULLUP;
  GPIO_InitStruct.Speed = GPIO_SPEED_FREQ_VERY_HIGH;
  GPIO_InitStruct.Alternate = GPIO_AF4_I2C2;
  HAL_GPIO_Init(GPIOB, &GPIO_InitStruct);

  /*Configure GPIO pins : INTERNAL_UART3_TX_Pin INTERNAL_UART3_RX_Pin */
  GPIO_InitStruct.Pin = INTERNAL_UART3_TX_Pin|INTERNAL_UART3_RX_Pin;
  GPIO_InitStruct.Mode = GPIO_MODE_AF_PP;
  GPIO_InitStruct.Pull = GPIO_NOPULL;
  GPIO_InitStruct.Speed = GPIO_SPEED_FREQ_VERY_HIGH;
  GPIO_InitStruct.Alternate = GPIO_AF7_USART3;
  HAL_GPIO_Init(GPIOD, &GPIO_InitStruct);

  /*Configure GPIO pins : LPS22HB_INT_DRDY_EXTI0_Pin LSM6DSL_INT1_EXTI11_Pin ARD_D2_Pin HTS221_DRDY_EXTI15_Pin
                           PMOD_IRQ_EXTI12_Pin */
  GPIO_InitStruct.Pin = LPS22HB_INT_DRDY_EXTI0_Pin|LSM6DSL_INT1_EXTI11_Pin|ARD_D2_Pin|HTS221_DRDY_EXTI15_Pin
                          |PMOD_IRQ_EXTI12_Pin;
  GPIO_InitStruct.Mode = GPIO_MODE_IT_RISING;
  GPIO_InitStruct.Pull = GPIO_NOPULL;
  HAL_GPIO_Init(GPIOD, &GPIO_InitStruct);

  /*Configure GPIO pins : USB_OTG_FS_PWR_EN_Pin SPBTLE_RF_SPI3_CSN_Pin PMOD_RESET_Pin STSAFE_A100_RESET_Pin */
  GPIO_InitStruct.Pin = USB_OTG_FS_PWR_EN_Pin|SPBTLE_RF_SPI3_CSN_Pin|PMOD_RESET_Pin|STSAFE_A100_RESET_Pin;
  GPIO_InitStruct.Mode = GPIO_MODE_OUTPUT_PP;
  GPIO_InitStruct.Pull = GPIO_NOPULL;
  GPIO_InitStruct.Speed = GPIO_SPEED_FREQ_LOW;
  HAL_GPIO_Init(GPIOD, &GPIO_InitStruct);

  /*Configure GPIO pins : VL53L0X_XSHUT_Pin LED3_WIFI__LED4_BLE_Pin */
  GPIO_InitStruct.Pin = VL53L0X_XSHUT_Pin|LED3_WIFI__LED4_BLE_Pin;
  GPIO_InitStruct.Mode = GPIO_MODE_OUTPUT_PP;
  GPIO_InitStruct.Pull = GPIO_NOPULL;
  GPIO_InitStruct.Speed = GPIO_SPEED_FREQ_LOW;
  HAL_GPIO_Init(GPIOC, &GPIO_InitStruct);

  /*Configure GPIO pins : VL53L0X_GPIO1_EXTI7_Pin LSM3MDL_DRDY_EXTI8_Pin */
  GPIO_InitStruct.Pin = VL53L0X_GPIO1_EXTI7_Pin|LSM3MDL_DRDY_EXTI8_Pin;
  GPIO_InitStruct.Mode = GPIO_MODE_IT_RISING;
  GPIO_InitStruct.Pull = GPIO_NOPULL;
  HAL_GPIO_Init(GPIOC, &GPIO_InitStruct);

  /*Configure GPIO pins : INTERNAL_SPI3_SCK_Pin INTERNAL_SPI3_MISO_Pin INTERNAL_SPI3_MOSI_Pin */
  GPIO_InitStruct.Pin = INTERNAL_SPI3_SCK_Pin|INTERNAL_SPI3_MISO_Pin|INTERNAL_SPI3_MOSI_Pin;
  GPIO_InitStruct.Mode = GPIO_MODE_AF_PP;
  GPIO_InitStruct.Pull = GPIO_NOPULL;
  GPIO_InitStruct.Speed = GPIO_SPEED_FREQ_VERY_HIGH;
  GPIO_InitStruct.Alternate = GPIO_AF6_SPI3;
  HAL_GPIO_Init(GPIOC, &GPIO_InitStruct);

  /*Configure GPIO pin : PMOD_SPI2_SCK_Pin */
  GPIO_InitStruct.Pin = PMOD_SPI2_SCK_Pin;
  GPIO_InitStruct.Mode = GPIO_MODE_AF_PP;
  GPIO_InitStruct.Pull = GPIO_NOPULL;
  GPIO_InitStruct.Speed = GPIO_SPEED_FREQ_VERY_HIGH;
  GPIO_InitStruct.Alternate = GPIO_AF5_SPI2;
  HAL_GPIO_Init(PMOD_SPI2_SCK_GPIO_Port, &GPIO_InitStruct);

  /*Configure GPIO pins : PMOD_UART2_CTS_Pin PMOD_UART2_RTS_Pin PMOD_UART2_TX_Pin PMOD_UART2_RX_Pin */
  GPIO_InitStruct.Pin = PMOD_UART2_CTS_Pin|PMOD_UART2_RTS_Pin|PMOD_UART2_TX_Pin|PMOD_UART2_RX_Pin;
  GPIO_InitStruct.Mode = GPIO_MODE_AF_PP;
  GPIO_InitStruct.Pull = GPIO_NOPULL;
  GPIO_InitStruct.Speed = GPIO_SPEED_FREQ_VERY_HIGH;
  GPIO_InitStruct.Alternate = GPIO_AF7_USART2;
  HAL_GPIO_Init(GPIOD, &GPIO_InitStruct);

  /*Configure GPIO pins : ARD_D15_Pin ARD_D14_Pin */
  GPIO_InitStruct.Pin = ARD_D15_Pin|ARD_D14_Pin;
  GPIO_InitStruct.Mode = GPIO_MODE_AF_OD;
  GPIO_InitStruct.Pull = GPIO_PULLUP;
  GPIO_InitStruct.Speed = GPIO_SPEED_FREQ_VERY_HIGH;
  GPIO_InitStruct.Alternate = GPIO_AF4_I2C1;
  HAL_GPIO_Init(GPIOB, &GPIO_InitStruct);

  /* EXTI interrupt init*/
  HAL_NVIC_SetPriority(EXTI9_5_IRQn, 5, 0);
  HAL_NVIC_EnableIRQ(EXTI9_5_IRQn);

  HAL_NVIC_SetPriority(EXTI15_10_IRQn, 5, 0);
  HAL_NVIC_EnableIRQ(EXTI15_10_IRQn);

}

void StartDefaultTask(void const * argument)
{
  /* USER CODE BEGIN 5 */
  /* Infinite loop */
  for(;;)
  {
	  osDelay(HAL_MAX_DELAY);
  }
  /* USER CODE END 5 */
}

void StartReadTemp(void const * argument)
{
  /* USER CODE BEGIN StartReadTemp */
	float temp_value = 0;
	// char *str_tmp = "Temperatura = %d.%02d°C\r";
	// char output_str[sizeof(str_tmp)];
	int tmpInt1, tmpInt2;
	float tmpFrac;
	uint32_t ret;

		do{
			 ret = BSP_TSENSOR_Init();

			if(ret == TSENSOR_ERROR){
				HAL_GPIO_WritePin(GPIOB, LED2_Pin, GPIO_PIN_SET);
				HAL_Delay(500);
				HAL_GPIO_WritePin(GPIOB, LED2_Pin, GPIO_PIN_RESET);
			}

		}while(ret == TSENSOR_ERROR);

	printf("ReadTemp: Temperature sensor initialized.\r");
	/* Infinite loop */
	for(;;)
	{
		if(written_data[0] == 0){
			temp_value = BSP_TSENSOR_ReadTemp();
			tmpInt1 = temp_value;
			tmpFrac = temp_value - tmpInt1;
			tmpInt2 = trunc(tmpFrac * 100);
			// snprintf(output_str, sizeof(output_str), str_tmp, tmpInt1, tmpInt2);
			// HAL_UART_Transmit(&huart1, (uint8_t *)output_str, sizeof(str_tmp), 1000);
			printf("ReadTemp: Temperatura = %d.%02d°C\r", tmpInt1, tmpInt2);

			sensor_data.temperature = temp_value;
			written_data[0] = 1;

			// if(_sum(written_data) >= 4)
				// xTaskNotifyGive(sendDataHandle);
		}
		else
			printf("ReadTemp: written_data is still 1. Sleeping.\r");

		osDelay(delay);
	}
  /* USER CODE END StartReadTemp */
}

void StartReadHum(void const * argument)
{
  /* USER CODE BEGIN StartReadHum */
	/* Infinite loop */
	float hum_value = 0;
	// char *str_hum = "Umidita' = %d.%02d\r";
	// char output_str[sizeof(str_hum)];
	int humInt1, humInt2;
	float humFrac;
	uint32_t ret;

		do{
			 ret = BSP_HSENSOR_Init();

			if(ret == HSENSOR_ERROR){
				HAL_GPIO_WritePin(GPIOB, LED2_Pin, GPIO_PIN_SET);
				HAL_Delay(500);
				HAL_GPIO_WritePin(GPIOB, LED2_Pin, GPIO_PIN_RESET);
			}

		}while(ret == HSENSOR_ERROR);

	printf("ReadHum: Humidity sensor initialized.\r");
	/* Infinite loop */
	for(;;)
	{
		if(written_data[1] == 0){
			hum_value = BSP_HSENSOR_ReadHumidity();
			humInt1 = hum_value;
			humFrac = hum_value - humInt1;
			humInt2 = trunc(humFrac * 100);
			// snprintf(output_str, sizeof(output_str), str_hum, humInt1, humInt2);
			// HAL_UART_Transmit(&huart1, (uint8_t *)output_str, sizeof(str_hum), 1000);
			printf("ReadHum: Umidita' = %d.%02d\r", humInt1, humInt2);

			sensor_data.humidity = hum_value;
			written_data[1] = 1;

			// if(_sum(written_data) >= 4)
				// xTaskNotifyGive(sendDataHandle);
		}
		else
			printf("ReadHum: written_data is still 1. Sleeping.\r");

		osDelay(delay);
	}
  /* USER CODE END StartReadHum */
}

void StartReadPressure(void const * argument)
{
  /* USER CODE BEGIN StartReadPressure */
	float pres_value = 0;
	// char *str_pres = "Pressione = %d.%02d hPa\r";
	// char output_str[sizeof(str_pres)];
	int presInt1, presInt2;
	float presFrac;
	uint32_t ret;

	do{
		 ret = BSP_PSENSOR_Init();

		if(ret == PSENSOR_ERROR){
			HAL_GPIO_WritePin(GPIOB, LED2_Pin, GPIO_PIN_SET);
			HAL_Delay(500);
			HAL_GPIO_WritePin(GPIOB, LED2_Pin, GPIO_PIN_RESET);
		}

	}while(ret == PSENSOR_ERROR);

	printf("ReadPress: Pressure sensor initialized.\r");
	/* Infinite loop */
	for(;;)
	{
		if(written_data[2] == 0){
			pres_value = BSP_PSENSOR_ReadPressure();
			presInt1 = pres_value;
			presFrac = pres_value - presInt1;
			presInt2 = trunc(presFrac * 100);
			// snprintf(output_str, sizeof(output_str), str_pres, presInt1, presInt2);
			// HAL_UART_Transmit(&huart1, (uint8_t *)output_str, sizeof(str_pres), 1000);
			printf("ReadPress: Pressione = %d.%02d hPa\r", presInt1, presInt2);

			sensor_data.pressure = pres_value;
			written_data[2] = 1;

			// if(_sum(written_data) >= 4)
				// xTaskNotifyGive(sendDataHandle);
		}
		else
			printf("ReadPress: written_data is still 1. Sleeping.\r");

		osDelay(delay);
	}
  /* USER CODE END StartReadPressure */
}

void StartReadMagnetometer(void const * argument)
{
  /* USER CODE BEGIN StartReadMagnetometer */
	int16_t xyz[3];
	int16_t x, y;
	// char *str_tmp = "Direzione del nord = %d.%02d°\r";
	// char output_str[sizeof(str_tmp)];
	double direction, magnFrac;
	int magnInt1, magnInt2;
	double declination_angle = 3.45;
	MAGNETO_StatusTypeDef ret;

	do{
		 ret = BSP_MAGNETO_Init();

		if(ret != MAGNETO_OK){
			HAL_GPIO_WritePin(GPIOB, LED2_Pin, GPIO_PIN_SET);
			HAL_Delay(500);
			HAL_GPIO_WritePin(GPIOB, LED2_Pin, GPIO_PIN_RESET);
		}

	}while(ret != MAGNETO_OK);

	printf("ReadMagn: Magnetometer initialized.\r");
	/* Infinite loop */
	for(;;)
	{
		if(written_data[3] == 0){
			BSP_MAGNETO_GetXYZ(xyz);
			x = xyz[0];
			y = xyz[1];

			if(y > 0)
				direction = 90 - (atan(x/y) * 180/M_PI);
			else if(y < 0)
				direction = 270 - (atan(x/y) * 180/M_PI);
			else if(y == 0 && x < 0)
				direction = 180.0;
			else if(y == 0 && x > 0)
				direction = 0.0;
			else
				direction = -1.0;

			if(direction != -1.0){
				direction += declination_angle;
				magnInt1 = direction;
				magnFrac = direction - magnInt1;
				magnInt2 = trunc(magnFrac * 100);
				// snprintf(output_str, sizeof(output_str), str_tmp, magnInt1, magnInt2);
				// HAL_UART_Transmit(&huart1, (uint8_t *)output_str, sizeof(str_tmp), 1000);
				printf("ReadMagn: Direzione del nord = %d.%02d°\r", magnInt1, magnInt2);

				sensor_data.north_direction = direction;
				written_data[3] = 1;

				// if(_sum(written_data) >= 4)
					// xTaskNotifyGive(sendDataHandle);
			}
		}
		else
			printf("ReadHum: written_data is still 1. Sleeping.\r");

		osDelay(delay);
	}
  /* USER CODE END StartReadMagnetometer */
}

void StartSendData(void const * argument)
{
  /* USER CODE BEGIN StartSendData */
	// const TickType_t xBlockTime = pdMS_TO_TICKS( HAL_MAX_DELAY );
  /* Infinite loop */
  for(;;)
  {
	  // printf("SendData: waiting for a notification...\r");
	  // ulTaskNotifyTake(pdTRUE, xBlockTime);
	  // printf("SendData: woke up.\r");
	  // if(_sum(written_data) >= 4)
		  // _UART_send_sensor_data();
	  if(_sum(written_data) >= 4)
		  _UART_send_sensor_data();
	  else
		  osDelay(delay);
  }
  /* USER CODE END StartSendData */
}

void StartReceiveDelay(void const * argument)
{
  /* USER CODE BEGIN StartReceiveDelay */
  /* Infinite loop */
  for(;;)
  {
	  _SPI_receive_delay();
  }
  /* USER CODE END StartReceiveDelay */
}

 /**
  * @brief  Period elapsed callback in non blocking mode
  * @note   This function is called  when TIM6 interrupt took place, inside
  * HAL_TIM_IRQHandler(). It makes a direct call to HAL_IncTick() to increment
  * a global variable "uwTick" used as application time base.
  * @param  htim : TIM handle
  * @retval None
  */
void HAL_TIM_PeriodElapsedCallback(TIM_HandleTypeDef *htim)
{
  if (htim->Instance == TIM6) {
    HAL_IncTick();
  }
}

void Error_Handler(void)
{
  __disable_irq();
  while (1)
  {
  }
}

/************************ (C) COPYRIGHT STMicroelectronics *****END OF FILE****/
